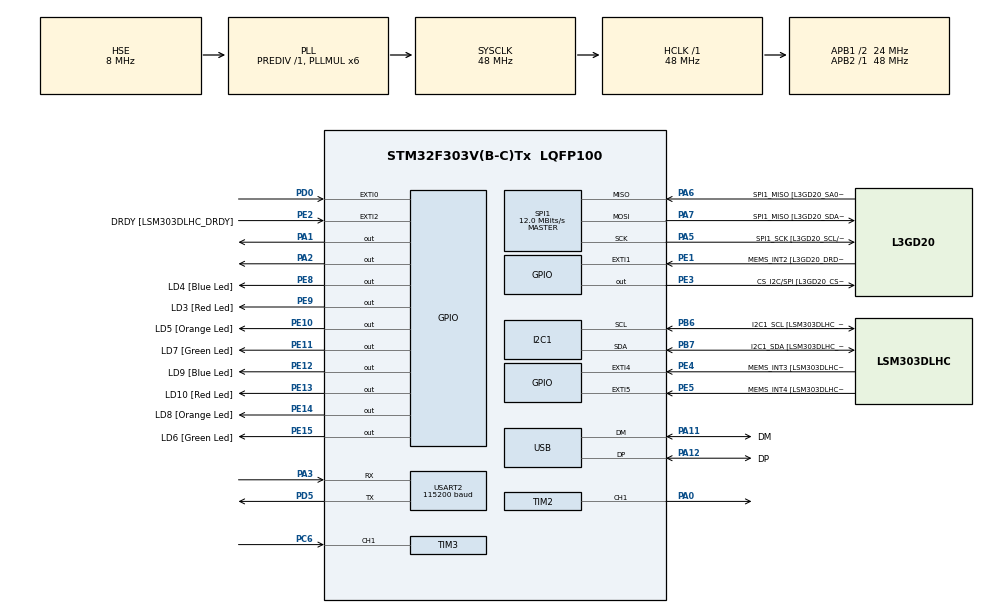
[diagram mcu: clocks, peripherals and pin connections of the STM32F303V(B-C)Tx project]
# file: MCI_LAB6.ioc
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I2C1.Timing=0x2000090E
I2C1.Timing-I2C=0x2000090E
Mcu.Family=STM32F3
Mcu.Name=STM32F303V(B-C)Tx
Mcu.Package=LQFP100
NVIC.EXTI0_IRQn=true\:0\:0\:false\:false\:true\:true\:true\:true
NVIC.PriorityGroup=NVIC_PRIORITYGROUP_0
PA0.Signal=S_TIM2_CH1_ETR
PA1.Signal=GPIO_Output
PA11.GPIO_Label=DM
PA11.Mode=Device
PA11.Signal=USB_DM
PA12.GPIO_Label=DP
PA12.Mode=Device
PA12.Signal=USB_DP
PA13.GPIO_Label=SWDIO
PA13.Mode=Serial_Wire
PA13.Signal=SYS_JTMS-SWDIO
PA14.GPIO_Label=SWCLK
PA14.Mode=Serial_Wire
PA14.Signal=SYS_JTCK-SWCLK
PA2.Signal=GPIO_Output
PA3.Mode=Asynchronous
PA3.Signal=USART2_RX
PA5.GPIO_Label=SPI1_SCK [L3GD20_SCL/SPC]
PA5.Mode=Full_Duplex_Master
PA5.Signal=SPI1_SCK
PA6.GPIO_Label=SPI1_MISO [L3GD20_SA0/SDO]
PA6.Mode=Full_Duplex_Master
PA6.Signal=SPI1_MISO
PA7.GPIO_Label=SPI1_MISO [L3GD20_SDA/SDI/SDO]
PA7.Mode=Full_Duplex_Master
PA7.Signal=SPI1_MOSI
PB3.GPIO_Label=SWO
PB3.Signal=SYS_JTDO-TRACESWO
PB6.GPIO_Label=I2C1_SCL [LSM303DLHC_SCL]
PB6.GPIO_Pu=GPIO_PULLUP
PB6.Mode=I2C
PB6.Signal=I2C1_SCL
PB7.GPIO_Label=I2C1_SDA [LSM303DLHC_SDA]
PB7.GPIO_Pu=GPIO_PULLUP
PB7.Mode=I2C
PB7.Signal=I2C1_SDA
PC14-OSC32_IN.GPIO_Label=OSC32_IN
PC14-OSC32_IN.Signal=RCC_OSC32_IN
PC15-OSC32_OUT.GPIO_Label=OSC32_OUT
PC15-OSC32_OUT.Signal=RCC_OSC32_OUT
PC6.Signal=S_TIM3_CH1
PD0.GPIO_PuPd=GPIO_PULLDOWN
PD0.Signal=GPXTI0
PD5.Mode=Asynchronous
PD5.Signal=USART2_TX
PE1.GPIO_Label=MEMS_INT2 [L3GD20_DRDY/INT2]
PE1.GPIO_ModeDefaultEXTI=GPIO_MODE_EVT_RISING
PE1.Signal=GPXTI1
PE10.GPIO_Label=LD5 [Orange Led]
PE10.Signal=GPIO_Output
PE11.GPIO_Label=LD7 [Green Led]
PE11.Signal=GPIO_Output
PE12.GPIO_Label=LD9 [Blue Led]
PE12.Signal=GPIO_Output
PE13.GPIO_Label=LD10 [Red Led]
PE13.Signal=GPIO_Output
PE14.GPIO_Label=LD8 [Orange Led]
PE14.Signal=GPIO_Output
PE15.GPIO_Label=LD6 [Green Led]
PE15.Signal=GPIO_Output
PE2.GPIO_Label=DRDY [LSM303DLHC_DRDY]
PE2.GPIO_ModeDefaultEXTI=GPIO_MODE_EVT_RISING
PE2.Signal=GPXTI2
PE3.GPIO_Label=CS_I2C/SPI [L3GD20_CS_I2C/SPI]
PE3.Signal=GPIO_Output
PE4.GPIO_Label=MEMS_INT3 [LSM303DLHC_INT1]
PE4.GPIO_ModeDefaultEXTI=GPIO_MODE_EVT_RISING
PE4.Signal=GPXTI4
PE5.GPIO_Label=MEMS_INT4 [LSM303DLHC_INT2]
PE5.GPIO_ModeDefaultEXTI=GPIO_MODE_EVT_RISING
PE5.Signal=GPXTI5
PE8.GPIO_Label=LD4 [Blue Led]
PE8.Signal=GPIO_Output
PE9.GPIO_Label=LD3 [Red Led]
PE9.Signal=GPIO_Output
PF0-OSC_IN.GPIO_Label=OSC_IN
PF0-OSC_IN.Mode=HSE-External-Clock-Source
PF0-OSC_IN.Signal=RCC_OSC_IN
PF1-OSC_OUT.GPIO_Label=OSC_OUT
PF1-OSC_OUT.Signal=RCC_OSC_OUT
ProjectManager.HeapSize=0x200
ProjectManager.StackSize=0x400
ProjectManager.TargetToolchain=CMake
RCC.AHBFreq_Value=48000000
RCC.APB1CLKDivider=RCC_HCLK_DIV2
RCC.APB1Freq_Value=24000000
RCC.APB1TimFreq_Value=48000000
RCC.APB2Freq_Value=48000000
RCC.APB2TimFreq_Value=48000000
RCC.CortexFreq_Value=48000000
RCC.HCLKFreq_Value=48000000
RCC.HSE_VALUE=8000000
RCC.HSI_VALUE=8000000
RCC.LSE_VALUE=32768
RCC.PLLMUL=RCC_PLL_MUL6
RCC.SYSCLKFreq_VALUE=48000000
RCC.SYSCLKSourceVirtual=RCC_SYSCLKSOURCE_PLLCLK
RCC.USBFreq_Value=48000000
SH.S_TIM2_CH1_ETR.0=TIM2_CH1,PWM Generation1 CH1
SH.S_TIM3_CH1.0=TIM3_CH1,Input_Capture1_from_TI1
SPI1.BaudRatePrescaler=SPI_BAUDRATEPRESCALER_4
SPI1.BaudRatePrescaler-Full_Duplex_Master=SPI_BAUDRATEPRESCALER_2
SPI1.CalculateBaudRate=12.0 MBits/s
SPI1.CalculateBaudRate-Full_Duplex_Master=24.0 MBits/s
SPI1.Direction=SPI_DIRECTION_2LINES
SPI1.Mode=SPI_MODE_MASTER
SPI1.Mode-Full_Duplex_Master=SPI_MODE_MASTER
SPI1.VirtualType=VM_MASTER
TIM2.Channel-PWM\ Generation1\ CH1=TIM_CHANNEL_1
TIM2.Prescaler=47
TIM3.Channel-Input_Capture1_from_TI1=TIM_CHANNEL_1
TIM3.Prescaler=71
USART2.BaudRate=115200
USART2.VirtualMode-Asynchronous=VM_ASYNC
board=STM32F3DISCOVERY

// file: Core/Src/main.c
/* USER CODE BEGIN Header */
/**
 ******************************************************************************
 * @file           : main.c
 * @brief          : Main program body
 ******************************************************************************
 * @attention
 *
 * Copyright (c) 2025 STMicroelectronics.
 * All rights reserved.
 *
 * This software is licensed under terms that can be found in the LICENSE file
 * in the root directory of this software component.
 * If no LICENSE file comes with this software, it is provided AS-IS.
 *
 ******************************************************************************
 */
/* USER CODE END Header */
#include "main.h"
#include <stdarg.h>
#include <stdio.h>
#include <string.h>

I2C_HandleTypeDef hi2c1;

SPI_HandleTypeDef hspi1;

TIM_HandleTypeDef htim2;
TIM_HandleTypeDef htim3;

UART_HandleTypeDef huart2;

PCD_HandleTypeDef hpcd_USB_FS;

void SystemClock_Config(void);
static void MX_GPIO_Init(void);
static void MX_I2C1_Init(void);
static void MX_SPI1_Init(void);
static void MX_TIM2_Init(void);
static void MX_USART2_UART_Init(void);
static void MX_USB_PCD_Init(void);
static void MX_TIM3_Init(void);

/* USER CODE BEGIN 0 */

volatile int edge_state = 0;        // 0 = waiting first edge, 1 = waiting second edge
volatile uint32_t period_ticks = 0; // last measured period
int samples[10];
int samp_idx = 0;            // num of values
volatile int print_flag = 0; // set to 1 when samples[] is full
char buffer[50];
// __HAL_RCC_AFIO_CLK_ENABLE();

void HAL_GPIO_EXTI_Callback(uint16_t GPIO_Pin)
{
  if (GPIO_Pin == GPIO_PIN_0)
  {
    print("Edge!\r\n");

    if (edge_state == 0)
    {
      __HAL_TIM_SET_COUNTER(&htim2, 0);
      edge_state = 1;
    }
    else
    {
      period_ticks = __HAL_TIM_GET_COUNTER(&htim2);
      print("Ticks: %lu\r\n", period_ticks);   // <-- Add this
      edge_state = 0;

      if (samp_idx < (int)(sizeof(samples) / sizeof(samples[0])))
      {
        samples[samp_idx++] = (int)period_ticks;
        if (samp_idx == (int)(sizeof(samples) / sizeof(samples[0])))
        {
          print_flag = 1;
          print("Buffer full!\r\n");  // <-- Confirm this
        }
      }
    }
  }
}

void print(const char *fmt, ...)
{
  char buffer[128];
  va_list args;
  va_start(args, fmt);
  vsnprintf(buffer, sizeof(buffer), fmt, args);
  va_end(args);
  HAL_UART_Transmit(&huart2, (uint8_t *)buffer, strlen(buffer), HAL_MAX_DELAY);
}

/* USER CODE END 0 */

int main(void)
{

  /* MCU Configuration--------------------------------------------------------*/

  /* Reset of all peripherals, Initializes the Flash interface and the Systick. */
  HAL_Init();

  /* Configure the system clock */
  SystemClock_Config();

  /* Initialize all configured peripherals */
  MX_GPIO_Init();
  MX_I2C1_Init();
  MX_SPI1_Init();
  MX_TIM2_Init();
  MX_USART2_UART_Init();
  MX_USB_PCD_Init();
  MX_TIM3_Init();

  /* Infinite loop */
  /* USER CODE BEGIN WHILE */
  /* USER CODE BEGIN 2 */
HAL_TIM_Base_Start(&htim2);  // <-- Start TIM2 counter (important!)
print("Timer 2 started for edge timing...\r\n");
/* USER CODE END 2 */

while (1)
{
    char msg[40];
    snprintf(msg, sizeof(msg),
             "state=%d, flag=%d\r\n",
             edge_state, print_flag);
    HAL_UART_Transmit(&huart2, (uint8_t *)msg, strlen(msg), HAL_MAX_DELAY);

    if (print_flag)
    {
        long sum = 0;
        for (int i = 0; i < (int)(sizeof(samples) / sizeof(samples[0])); i++)
            sum += samples[i];

        double avg_ticks = (double)sum / (double)(sizeof(samples) / sizeof(samples[0]));

        // TIM2 frequency = 72 MHz / (Prescaler + 1)
        double tick_hz = 72000000.0 / (47 + 1);  // = 1.5 MHz
        double f_hz = tick_hz / avg_ticks;
        double f_err_hz = tick_hz / (avg_ticks * avg_ticks);

        char msg2[128];
        snprintf(msg2, sizeof(msg2),
                 "avg_ticks = %.2f   f = %.2f Hz   +/- %.4f Hz\r\n",
                 avg_ticks, f_hz, f_err_hz);
        HAL_UART_Transmit(&huart2, (uint8_t *)msg2, strlen(msg2), HAL_MAX_DELAY);

        samp_idx = 0;
        print_flag = 0;
    }

    HAL_Delay(100);
}

  /* USER CODE END 3 */
}

void SystemClock_Config(void)
{
  RCC_OscInitTypeDef RCC_OscInitStruct = {0};
  RCC_ClkInitTypeDef RCC_ClkInitStruct = {0};
  RCC_PeriphCLKInitTypeDef PeriphClkInit = {0};

  /** Initializes the RCC Oscillators according to the specified parameters
  * in the RCC_OscInitTypeDef structure.
  */
  RCC_OscInitStruct.OscillatorType = RCC_OSCILLATORTYPE_HSI|RCC_OSCILLATORTYPE_HSE;
  RCC_OscInitStruct.HSEState = RCC_HSE_BYPASS;
  RCC_OscInitStruct.HSEPredivValue = RCC_HSE_PREDIV_DIV1;
  RCC_OscInitStruct.HSIState = RCC_HSI_ON;
  RCC_OscInitStruct.HSICalibrationValue = RCC_HSICALIBRATION_DEFAULT;
  RCC_OscInitStruct.PLL.PLLState = RCC_PLL_ON;
  RCC_OscInitStruct.PLL.PLLSource = RCC_PLLSOURCE_HSE;
  RCC_OscInitStruct.PLL.PLLMUL = RCC_PLL_MUL6;
  if (HAL_RCC_OscConfig(&RCC_OscInitStruct) != HAL_OK)
  {
    Error_Handler();
  }

  /** Initializes the CPU, AHB and APB buses clocks
  */
  RCC_ClkInitStruct.ClockType = RCC_CLOCKTYPE_HCLK|RCC_CLOCKTYPE_SYSCLK
                              |RCC_CLOCKTYPE_PCLK1|RCC_CLOCKTYPE_PCLK2;
  RCC_ClkInitStruct.SYSCLKSource = RCC_SYSCLKSOURCE_PLLCLK;
  RCC_ClkInitStruct.AHBCLKDivider = RCC_SYSCLK_DIV1;
  RCC_ClkInitStruct.APB1CLKDivider = RCC_HCLK_DIV2;
  RCC_ClkInitStruct.APB2CLKDivider = RCC_HCLK_DIV1;

  if (HAL_RCC_ClockConfig(&RCC_ClkInitStruct, FLASH_LATENCY_1) != HAL_OK)
  {
    Error_Handler();
  }
  PeriphClkInit.PeriphClockSelection = RCC_PERIPHCLK_USB|RCC_PERIPHCLK_USART2
                              |RCC_PERIPHCLK_I2C1;
  PeriphClkInit.Usart2ClockSelection = RCC_USART2CLKSOURCE_PCLK1;
  PeriphClkInit.I2c1ClockSelection = RCC_I2C1CLKSOURCE_HSI;
  PeriphClkInit.USBClockSelection = RCC_USBCLKSOURCE_PLL;
  if (HAL_RCCEx_PeriphCLKConfig(&PeriphClkInit) != HAL_OK)
  {
    Error_Handler();
  }
}

static void MX_I2C1_Init(void)
{

  hi2c1.Instance = I2C1;
  hi2c1.Init.Timing = 0x2000090E;
  hi2c1.Init.OwnAddress1 = 0;
  hi2c1.Init.AddressingMode = I2C_ADDRESSINGMODE_7BIT;
  hi2c1.Init.DualAddressMode = I2C_DUALADDRESS_DISABLE;
  hi2c1.Init.OwnAddress2 = 0;
  hi2c1.Init.OwnAddress2Masks = I2C_OA2_NOMASK;
  hi2c1.Init.GeneralCallMode = I2C_GENERALCALL_DISABLE;
  hi2c1.Init.NoStretchMode = I2C_NOSTRETCH_DISABLE;
  if (HAL_I2C_Init(&hi2c1) != HAL_OK)
  {
    Error_Handler();
  }

  /** Configure Analogue filter
  */
  if (HAL_I2CEx_ConfigAnalogFilter(&hi2c1, I2C_ANALOGFILTER_ENABLE) != HAL_OK)
  {
    Error_Handler();
  }

  /** Configure Digital filter
  */
  if (HAL_I2CEx_ConfigDigitalFilter(&hi2c1, 0) != HAL_OK)
  {
    Error_Handler();
  }

}

static void MX_SPI1_Init(void)
{

  /* SPI1 parameter configuration*/
  hspi1.Instance = SPI1;
  hspi1.Init.Mode = SPI_MODE_MASTER;
  hspi1.Init.Direction = SPI_DIRECTION_2LINES;
  hspi1.Init.DataSize = SPI_DATASIZE_4BIT;
  hspi1.Init.CLKPolarity = SPI_POLARITY_LOW;
  hspi1.Init.CLKPhase = SPI_PHASE_1EDGE;
  hspi1.Init.NSS = SPI_NSS_SOFT;
  hspi1.Init.BaudRatePrescaler = SPI_BAUDRATEPRESCALER_4;
  hspi1.Init.FirstBit = SPI_FIRSTBIT_MSB;
  hspi1.Init.TIMode = SPI_TIMODE_DISABLE;
  hspi1.Init.CRCCalculation = SPI_CRCCALCULATION_DISABLE;
  hspi1.Init.CRCPolynomial = 7;
  hspi1.Init.CRCLength = SPI_CRC_LENGTH_DATASIZE;
  hspi1.Init.NSSPMode = SPI_NSS_PULSE_ENABLE;
  if (HAL_SPI_Init(&hspi1) != HAL_OK)
  {
    Error_Handler();
  }

}

static void MX_TIM2_Init(void)
{

  TIM_MasterConfigTypeDef sMasterConfig = {0};
  TIM_OC_InitTypeDef sConfigOC = {0};

  htim2.Instance = TIM2;
  htim2.Init.Prescaler = 47;
  htim2.Init.CounterMode = TIM_COUNTERMODE_UP;
  htim2.Init.Period = 4294967295;
  htim2.Init.ClockDivision = TIM_CLOCKDIVISION_DIV1;
  htim2.Init.AutoReloadPreload = TIM_AUTORELOAD_PRELOAD_DISABLE;
  if (HAL_TIM_PWM_Init(&htim2) != HAL_OK)
  {
    Error_Handler();
  }
  sMasterConfig.MasterOutputTrigger = TIM_TRGO_RESET;
  sMasterConfig.MasterSlaveMode = TIM_MASTERSLAVEMODE_DISABLE;
  if (HAL_TIMEx_MasterConfigSynchronization(&htim2, &sMasterConfig) != HAL_OK)
  {
    Error_Handler();
  }
  sConfigOC.OCMode = TIM_OCMODE_PWM1;
  sConfigOC.Pulse = 0;
  sConfigOC.OCPolarity = TIM_OCPOLARITY_HIGH;
  sConfigOC.OCFastMode = TIM_OCFAST_DISABLE;
  if (HAL_TIM_PWM_ConfigChannel(&htim2, &sConfigOC, TIM_CHANNEL_1) != HAL_OK)
  {
    Error_Handler();
  }
  HAL_TIM_MspPostInit(&htim2);

}

static void MX_TIM3_Init(void)
{

  TIM_MasterConfigTypeDef sMasterConfig = {0};
  TIM_IC_InitTypeDef sConfigIC = {0};

  htim3.Instance = TIM3;
  htim3.Init.Prescaler = 71;
  htim3.Init.CounterMode = TIM_COUNTERMODE_UP;
  htim3.Init.Period = 65535;
  htim3.Init.ClockDivision = TIM_CLOCKDIVISION_DIV1;
  htim3.Init.AutoReloadPreload = TIM_AUTORELOAD_PRELOAD_DISABLE;
  if (HAL_TIM_IC_Init(&htim3) != HAL_OK)
  {
    Error_Handler();
  }
  sMasterConfig.MasterOutputTrigger = TIM_TRGO_RESET;
  sMasterConfig.MasterSlaveMode = TIM_MASTERSLAVEMODE_DISABLE;
  if (HAL_TIMEx_MasterConfigSynchronization(&htim3, &sMasterConfig) != HAL_OK)
  {
    Error_Handler();
  }
  sConfigIC.ICPolarity = TIM_INPUTCHANNELPOLARITY_RISING;
  sConfigIC.ICSelection = TIM_ICSELECTION_DIRECTTI;
  sConfigIC.ICPrescaler = TIM_ICPSC_DIV1;
  sConfigIC.ICFilter = 0;
  if (HAL_TIM_IC_ConfigChannel(&htim3, &sConfigIC, TIM_CHANNEL_1) != HAL_OK)
  {
    Error_Handler();
  }

}

static void MX_USART2_UART_Init(void)
{

  huart2.Instance = USART2;
  huart2.Init.BaudRate = 115200;
  huart2.Init.WordLength = UART_WORDLENGTH_8B;
  huart2.Init.StopBits = UART_STOPBITS_1;
  huart2.Init.Parity = UART_PARITY_NONE;
  huart2.Init.Mode = UART_MODE_TX_RX;
  huart2.Init.HwFlowCtl = UART_HWCONTROL_NONE;
  huart2.Init.OverSampling = UART_OVERSAMPLING_16;
  huart2.Init.OneBitSampling = UART_ONE_BIT_SAMPLE_DISABLE;
  huart2.AdvancedInit.AdvFeatureInit = UART_ADVFEATURE_NO_INIT;
  if (HAL_UART_Init(&huart2) != HAL_OK)
  {
    Error_Handler();
  }

}

static void MX_USB_PCD_Init(void)
{

  hpcd_USB_FS.Instance = USB;
  hpcd_USB_FS.Init.dev_endpoints = 8;
  hpcd_USB_FS.Init.speed = PCD_SPEED_FULL;
  hpcd_USB_FS.Init.phy_itface = PCD_PHY_EMBEDDED;
  hpcd_USB_FS.Init.low_power_enable = DISABLE;
  hpcd_USB_FS.Init.battery_charging_enable = DISABLE;
  if (HAL_PCD_Init(&hpcd_USB_FS) != HAL_OK)
  {
    Error_Handler();
  }

}

static void MX_GPIO_Init(void)
{
  GPIO_InitTypeDef GPIO_InitStruct = {0};

  /* GPIO Ports Clock Enable */
  __HAL_RCC_GPIOE_CLK_ENABLE();
  __HAL_RCC_GPIOC_CLK_ENABLE();
  __HAL_RCC_GPIOF_CLK_ENABLE();
  __HAL_RCC_GPIOA_CLK_ENABLE();
  __HAL_RCC_GPIOD_CLK_ENABLE();
  __HAL_RCC_GPIOB_CLK_ENABLE();

  /*Configure GPIO pin Output Level */
  HAL_GPIO_WritePin(GPIOE, CS_I2C_SPI_Pin|LD4_Pin|LD3_Pin|LD5_Pin
                          |LD7_Pin|LD9_Pin|LD10_Pin|LD8_Pin
                          |LD6_Pin, GPIO_PIN_RESET);

  /*Configure GPIO pin Output Level */
  HAL_GPIO_WritePin(GPIOA, GPIO_PIN_1|GPIO_PIN_2, GPIO_PIN_RESET);

  /*Configure GPIO pins : DRDY_Pin MEMS_INT3_Pin MEMS_INT4_Pin MEMS_INT2_Pin */
  GPIO_InitStruct.Pin = DRDY_Pin|MEMS_INT3_Pin|MEMS_INT4_Pin|MEMS_INT2_Pin;
  GPIO_InitStruct.Mode = GPIO_MODE_EVT_RISING;
  GPIO_InitStruct.Pull = GPIO_NOPULL;
  HAL_GPIO_Init(GPIOE, &GPIO_InitStruct);

  /*Configure GPIO pins : CS_I2C_SPI_Pin LD4_Pin LD3_Pin LD5_Pin
                           LD7_Pin LD9_Pin LD10_Pin LD8_Pin
                           LD6_Pin */
  GPIO_InitStruct.Pin = CS_I2C_SPI_Pin|LD4_Pin|LD3_Pin|LD5_Pin
                          |LD7_Pin|LD9_Pin|LD10_Pin|LD8_Pin
                          |LD6_Pin;
  GPIO_InitStruct.Mode = GPIO_MODE_OUTPUT_PP;
  GPIO_InitStruct.Pull = GPIO_NOPULL;
  GPIO_InitStruct.Speed = GPIO_SPEED_FREQ_LOW;
  HAL_GPIO_Init(GPIOE, &GPIO_InitStruct);

  /*Configure GPIO pins : PA1 PA2 */
  GPIO_InitStruct.Pin = GPIO_PIN_1|GPIO_PIN_2;
  GPIO_InitStruct.Mode = GPIO_MODE_OUTPUT_PP;
  GPIO_InitStruct.Pull = GPIO_NOPULL;
  GPIO_InitStruct.Speed = GPIO_SPEED_FREQ_LOW;
  HAL_GPIO_Init(GPIOA, &GPIO_InitStruct);

  /*Configure GPIO pin : PD0 */
  GPIO_InitStruct.Pin = GPIO_PIN_0;
  GPIO_InitStruct.Mode = GPIO_MODE_IT_RISING;
  GPIO_InitStruct.Pull = GPIO_PULLDOWN;
  HAL_GPIO_Init(GPIOD, &GPIO_InitStruct);

  /* EXTI interrupt init*/
  HAL_NVIC_SetPriority(EXTI0_IRQn, 0, 0);
  HAL_NVIC_EnableIRQ(EXTI0_IRQn);

}

void Error_Handler(void)
{
  __disable_irq();
  while (1)
  {
  }
}
